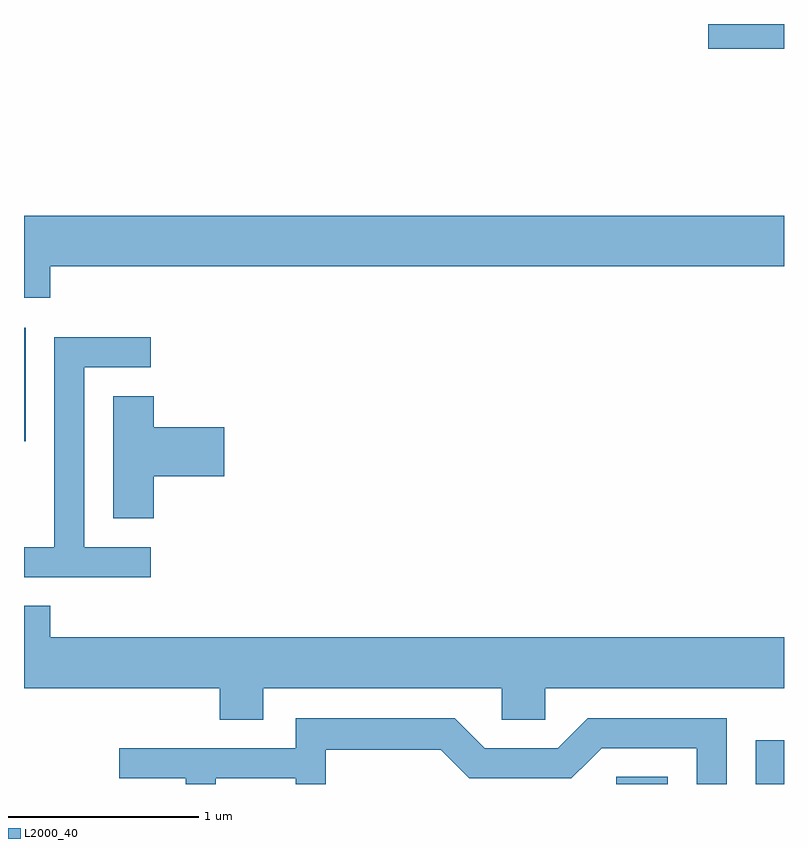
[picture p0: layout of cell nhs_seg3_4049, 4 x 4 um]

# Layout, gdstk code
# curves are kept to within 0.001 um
import gdstk
lib = gdstk.Library(unit=1e-6, precision=1e-09)
def R(c, l, rs):  # rectangles x0, y0, x1, y1
    for r in rs: c.add(gdstk.rectangle(r[:2], r[2:], *l))
def P(c, l, *ps):  # polygons
    for p in ps: c.add(gdstk.Polygon(p, *l))
L2000_40 = (2000, 40)

nhs_seg3_4049 = lib.new_cell('nhs_seg3_4049')
R(nhs_seg3_4049, L2000_40, [(306.728,1189.892,306.999,1189.929), (307.461,1189.892,307.611,1190.123), (303.611,1191.696,303.619,1192.294), (307.211,1193.761,307.611,1193.892)])
P(nhs_seg3_4049, L2000_40, [(303.749,1192.616),(307.611,1192.616),(307.611,1192.884),(303.611,1192.884),(303.611,1192.451),(303.749,1192.451)],
  [(304.278,1191.139),(303.929,1191.139),(303.929,1192.086),(304.278,1192.086),(304.278,1192.244),(303.771,1192.244),(303.771,1191.139),(303.611,1191.139),(303.611,1190.981),(304.278,1190.981)],
  [(304.294,1191.511),(304.664,1191.511),(304.664,1191.769),(304.294,1191.769),(304.294,1191.934),(304.081,1191.934),(304.081,1191.291),(304.294,1191.291)],
  [(304.869,1190.396),(306.126,1190.396),(306.126,1190.231),(306.354,1190.231),(306.354,1190.396),(307.611,1190.396),(307.611,1190.664),(303.749,1190.664),(303.749,1190.829),(303.611,1190.829),(303.611,1190.396),(304.641,1190.396),(304.641,1190.231),(304.869,1190.231)],
  [(304.619,1189.921),(305.041,1189.921),(305.041,1189.892),(305.199,1189.892),(305.199,1190.071),(305.804,1190.071),(305.954,1189.921),(306.492,1189.921),(306.652,1190.081),(307.151,1190.081),(307.151,1189.892),(307.309,1189.892),(307.309,1190.239),(306.579,1190.239),(306.419,1190.079),(306.037,1190.079),(305.877,1190.239),(305.041,1190.239),(305.041,1190.079),(304.113,1190.079),(304.113,1189.921),(304.461,1189.921),(304.461,1189.892),(304.619,1189.892)])

lib.write_gds('nhs_seg3_4049.gds')
